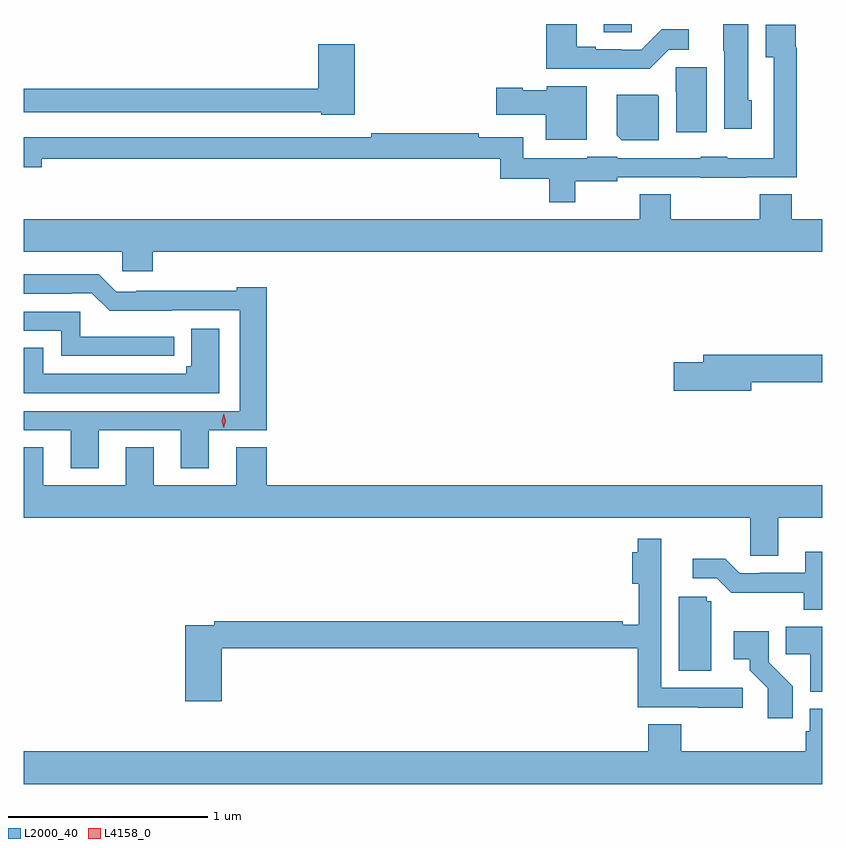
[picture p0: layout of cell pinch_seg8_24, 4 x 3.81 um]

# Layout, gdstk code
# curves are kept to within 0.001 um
import gdstk
lib = gdstk.Library(unit=1e-6, precision=1e-09)
def R(c, l, rs):  # rectangles x0, y0, x1, y1
    for r in rs: c.add(gdstk.rectangle(r[:2], r[2:], *l))
def P(c, l, *ps):  # polygons
    for p in ps: c.add(gdstk.Polygon(p, *l))
L2000_40 = (2000, 40)
L4158_0 = (4158, 0)

pinch_seg8_24 = lib.new_cell('pinch_seg8_24')
R(pinch_seg8_24, L2000_40, [(1073.189,1129.588,1073.328,1129.629)])
P(pinch_seg8_24, L2000_40, [(1073.929,1129.248),(1073.911,1129.248),(1073.911,1129.629),(1073.786,1129.629),(1073.786,1129.494),(1073.792,1129.494),(1073.792,1129.104),(1073.929,1129.104)],
  [(1073.514,1129.5),(1073.614,1129.5),(1073.614,1129.603),(1073.479,1129.603),(1073.376,1129.5),(1073.276,1129.5),(1073.276,1129.503),(1073.149,1129.503),(1073.149,1129.516),(1073.053,1129.516),(1073.053,1129.629),(1072.901,1129.629),(1072.901,1129.406),(1073.419,1129.406)],
  [(1073.044,1128.842),(1073.256,1128.842),(1073.256,1128.861),(1073.673,1128.861),(1073.673,1128.86),(1073.905,1128.86),(1073.905,1128.861),(1074.155,1128.861),(1074.155,1129.511),(1074.148,1129.511),(1074.148,1129.624),(1073.999,1129.624),(1073.999,1129.463),(1074.039,1129.463),(1074.039,1128.958),(1073.805,1128.958),(1073.805,1128.964),(1073.673,1128.964),(1073.673,1128.957),(1073.256,1128.957),(1073.256,1128.964),(1073.106,1128.964),(1073.106,1128.958),(1072.785,1128.958),(1072.785,1129.062),(1072.562,1129.062),(1072.562,1129.082),(1072.024,1129.082),(1072.024,1129.062),(1070.283,1129.062),(1070.283,1128.911),(1070.374,1128.911),(1070.374,1128.954),(1072.669,1128.954),(1072.669,1128.854),(1072.915,1128.854),(1072.915,1128.737),(1073.044,1128.737)],
  [(1071.941,1129.528),(1071.758,1129.528),(1071.758,1129.304),(1070.283,1129.304),(1070.283,1129.188),(1071.774,1129.188),(1071.774,1129.175),(1071.941,1129.175)],
  [(1073.704,1129.413),(1073.548,1129.413),(1073.548,1129.29),(1073.552,1129.29),(1073.552,1129.086),(1073.704,1129.086)],
  [(1073.104,1129.318),(1072.902,1129.318),(1072.902,1129.297),(1072.782,1129.297),(1072.782,1129.31),(1072.65,1129.31),(1072.65,1129.175),(1072.898,1129.175),(1072.898,1129.049),(1073.104,1129.049)],
  [(1073.464,1129.268),(1073.456,1129.276),(1073.252,1129.276),(1073.252,1129.072),(1073.278,1129.046),(1073.464,1129.046)],
  [(1070.93,1128.488),(1074.283,1128.488),(1074.283,1128.652),(1074.128,1128.652),(1074.128,1128.776),(1073.968,1128.776),(1073.968,1128.652),(1073.523,1128.652),(1073.523,1128.776),(1073.368,1128.776),(1073.368,1128.652),(1070.283,1128.652),(1070.283,1128.488),(1070.778,1128.488),(1070.778,1128.39),(1070.93,1128.39)],
  [(1070.659,1127.595),(1071.071,1127.595),(1071.071,1127.406),(1071.211,1127.406),(1071.211,1127.595),(1071.5,1127.595),(1071.5,1128.31),(1071.351,1128.31),(1071.351,1128.293),(1070.848,1128.293),(1070.848,1128.288),(1070.748,1128.288),(1070.66,1128.376),(1070.283,1128.375),(1070.283,1128.279),(1070.525,1128.279),(1070.525,1128.282),(1070.625,1128.282),(1070.714,1128.194),(1071.365,1128.195),(1071.365,1127.691),(1070.283,1127.691),(1070.283,1127.595),(1070.519,1127.595),(1070.519,1127.406),(1070.659,1127.406)],
  [(1070.927,1127.969),(1071.037,1127.969),(1071.037,1128.064),(1070.568,1128.064),(1070.568,1128.189),(1070.283,1128.189),(1070.283,1128.093),(1070.472,1128.093),(1070.472,1127.967),(1070.927,1127.967)],
  [(1071.262,1128.103),(1071.122,1128.103),(1071.122,1127.916),(1071.098,1127.916),(1071.098,1127.877),(1070.383,1127.877),(1070.383,1128.008),(1070.283,1128.008),(1070.283,1127.781),(1071.262,1127.781)],
  [(1073.926,1127.836),(1074.283,1127.836),(1074.283,1127.972),(1073.687,1127.972),(1073.687,1127.936),(1073.538,1127.936),(1073.538,1127.794),(1073.926,1127.794)],
  [(1074.061,1127.156),(1074.283,1127.156),(1074.283,1127.32),(1071.5,1127.32),(1071.5,1127.51),(1071.347,1127.51),(1071.347,1127.32),(1070.935,1127.32),(1070.935,1127.51),(1070.795,1127.51),(1070.795,1127.32),(1070.383,1127.32),(1070.383,1127.51),(1070.283,1127.51),(1070.283,1127.156),(1073.922,1127.156),(1073.922,1126.966),(1074.061,1126.966)],
  [(1073.884,1126.305),(1073.475,1126.305),(1073.475,1126.83),(1073.476,1126.83),(1073.476,1127.053),(1073.359,1127.053),(1073.359,1126.984),(1073.33,1126.984),(1073.33,1126.826),(1073.363,1126.826),(1073.363,1126.622),(1073.282,1126.622),(1073.282,1126.64),(1071.238,1126.64),(1071.238,1126.62),(1071.092,1126.62),(1071.092,1126.239),(1071.275,1126.239),(1071.275,1126.504),(1073.359,1126.504),(1073.359,1126.209),(1073.659,1126.209),(1073.659,1126.207),(1073.884,1126.207)],
  [(1074.283,1126.987),(1074.197,1126.987),(1074.197,1126.881),(1073.968,1126.881),(1073.968,1126.878),(1073.868,1126.878),(1073.795,1126.951),(1073.634,1126.951),(1073.634,1126.854),(1073.754,1126.854),(1073.827,1126.781),(1074.19,1126.782),(1074.19,1126.697),(1074.283,1126.697)],
  [(1073.725,1126.74),(1073.703,1126.74),(1073.703,1126.761),(1073.564,1126.761),(1073.564,1126.392),(1073.725,1126.392)],
  [(1074.283,1126.612),(1074.1,1126.612),(1074.1,1126.474),(1074.221,1126.474),(1074.221,1126.286),(1074.283,1126.286)],
  [(1074.134,1126.314),(1074.015,1126.433),(1074.015,1126.588),(1073.838,1126.588),(1073.838,1126.448),(1073.918,1126.448),(1073.918,1126.393),(1074.009,1126.303),(1074.009,1126.152),(1074.134,1126.152)],
  [(1074.283,1126.201),(1074.219,1126.201),(1074.219,1126.089),(1074.199,1126.089),(1074.199,1125.988),(1073.576,1125.988),(1073.576,1126.124),(1073.411,1126.124),(1073.411,1125.988),(1070.283,1125.988),(1070.283,1125.824),(1074.283,1125.824)])
P(pinch_seg8_24, L4158_0, [(1071.286,1127.608),(1071.286,1127.608),(1071.276,1127.643),(1071.286,1127.678),(1071.286,1127.678),(1071.286,1127.678),(1071.296,1127.643),(1071.286,1127.608)])

lib.write_gds('pinch_seg8_24.gds')
